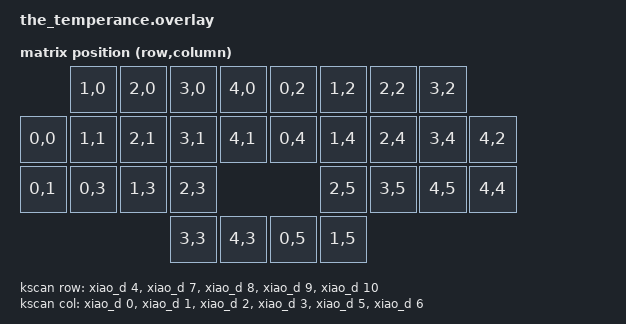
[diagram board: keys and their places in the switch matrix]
#include <dt-bindings/zmk/matrix_transform.h>

/ {
    chosen {
        zmk,kscan = &kscan;
        zmk,matrix_transform = &transform;
        /delete-property/ zephyr,console;
    };

    transform: transform {
        compatible = "zmk,matrix-transform";
        columns = <6>;
        rows = <5>;

    //        | MX1  | MX2  | MX3  | MX4  || MX5  | MX6  | MX7  | MX8  |
    // | MX9  | MX10 | MX11 | MX12 | MX13 || MX14 | MX15 | MX16 | MX17 | MX18 |
    // | MX19 | MX20 | MX21 | MX22 |              | MX23 | MX24 | MX25 | MX26 |
    //                      | MX27 | MX28 || MX29 | MX30 |

        map = <
            RC(1,0) RC(2,0) RC(3,0) RC(4,0)  RC(0,2) RC(1,2) RC(2,2) RC(3,2)
    RC(0,0) RC(1,1) RC(2,1) RC(3,1) RC(4,1)  RC(0,4) RC(1,4) RC(2,4) RC(3,4) RC(4,2)
    RC(0,1) RC(0,3) RC(1,3) RC(2,3)                  RC(2,5) RC(3,5) RC(4,5) RC(4,4)
                            RC(3,3) RC(4,3)  RC(0,5) RC(1,5)
        >;
    };
   
    kscan: kscan {
        compatible = "zmk,kscan-gpio-matrix";
        label = "KSCAN";
        debounce-period = <10>;
        diode-direction = "row2col";

        col-gpios
            = <&xiao_d 0 (GPIO_ACTIVE_HIGH | GPIO_PULL_DOWN)>
            , <&xiao_d 1 (GPIO_ACTIVE_HIGH | GPIO_PULL_DOWN)>
            , <&xiao_d 2 (GPIO_ACTIVE_HIGH | GPIO_PULL_DOWN)>
            , <&xiao_d 3 (GPIO_ACTIVE_HIGH | GPIO_PULL_DOWN)>
            , <&xiao_d 5 (GPIO_ACTIVE_HIGH | GPIO_PULL_DOWN)>
            , <&xiao_d 6 (GPIO_ACTIVE_HIGH | GPIO_PULL_DOWN)>
            ;

        row-gpios
            = <&xiao_d  4 GPIO_ACTIVE_HIGH>
            , <&xiao_d  7 GPIO_ACTIVE_HIGH>
            , <&xiao_d  8 GPIO_ACTIVE_HIGH>
            , <&xiao_d  9 GPIO_ACTIVE_HIGH>
            , <&xiao_d 10 GPIO_ACTIVE_HIGH>
            ;
    };
};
